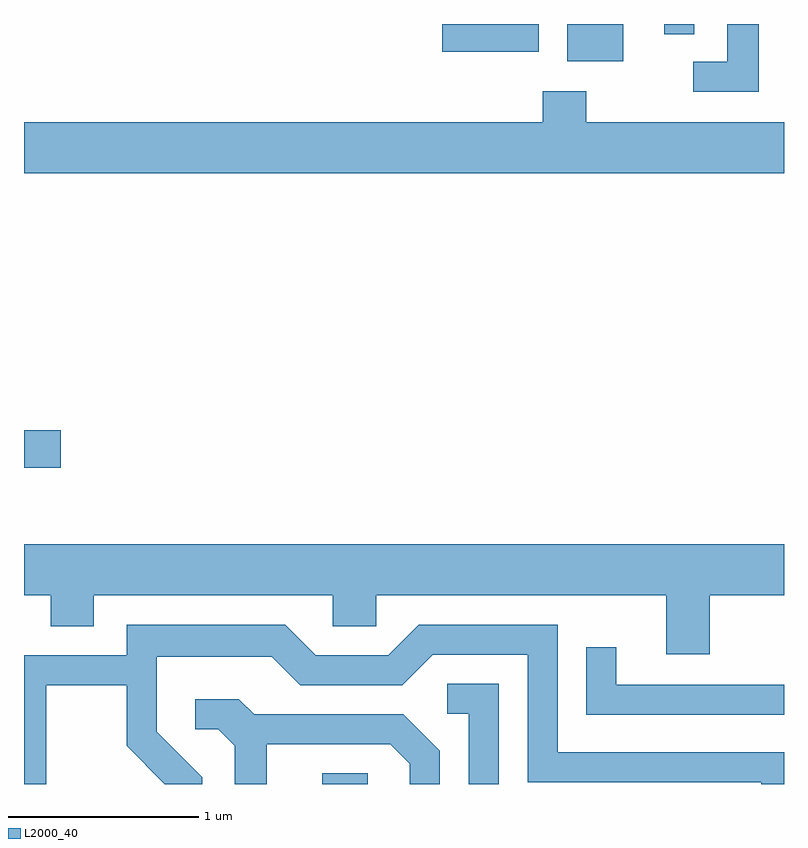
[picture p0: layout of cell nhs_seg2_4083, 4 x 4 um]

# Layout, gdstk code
import gdstk
lib = gdstk.Library(unit=1e-6, precision=1e-09)
def R(c, l, rs):  # rectangles x0, y0, x1, y1
    for r in rs: c.add(gdstk.rectangle(r[:2], r[2:], *l))
def P(c, l, *ps):  # polygons
    for p in ps: c.add(gdstk.Polygon(p, *l))
L2000_40 = (2000, 40)

nhs_seg2_4083 = lib.new_cell('nhs_seg2_4083')
R(nhs_seg2_4083, L2000_40, [(307.181,1011.802,307.419,1011.859), (305.611,1013.466,305.804,1013.664), (308.471,1015.606,308.764,1015.802), (307.813,1015.656,308.319,1015.802), (308.981,1015.748,309.139,1015.802)])
P(nhs_seg2_4083, L2000_40, [(309.479,1015.802),(309.311,1015.802),(309.311,1015.604),(309.133,1015.604),(309.133,1015.446),(309.479,1015.446)],
  [(309.611,1015.284),(308.569,1015.284),(308.569,1015.449),(308.341,1015.449),(308.341,1015.284),(305.611,1015.284),(305.611,1015.016),(309.611,1015.016)],
  [(309.219,1012.796),(309.611,1012.796),(309.611,1013.064),(305.611,1013.064),(305.611,1012.796),(305.751,1012.796),(305.751,1012.631),(305.979,1012.631),(305.979,1012.796),(307.236,1012.796),(307.236,1012.631),(307.464,1012.631),(307.464,1012.796),(308.991,1012.796),(308.991,1012.486),(309.219,1012.486)],
  [(305.729,1012.321),(306.151,1012.321),(306.151,1012.004),(306.353,1011.802),(306.549,1011.802),(306.549,1011.837),(306.309,1012.077),(306.309,1012.471),(306.914,1012.471),(307.064,1012.321),(307.602,1012.321),(307.762,1012.481),(308.261,1012.481),(308.261,1011.811),(309.491,1011.811),(309.491,1011.802),(309.611,1011.802),(309.611,1011.969),(308.419,1011.969),(308.419,1012.639),(307.689,1012.639),(307.529,1012.479),(307.147,1012.479),(306.987,1012.639),(306.151,1012.639),(306.151,1012.479),(305.611,1012.479),(305.611,1011.802),(305.729,1011.802)],
  [(309.611,1012.324),(308.729,1012.324),(308.729,1012.523),(308.571,1012.523),(308.571,1012.166),(309.611,1012.166)],
  [(308.109,1012.329),(307.838,1012.329),(307.838,1012.171),(307.951,1012.171),(307.951,1011.802),(308.109,1011.802)],
  [(306.889,1012.011),(307.539,1012.011),(307.641,1011.909),(307.641,1011.802),(307.799,1011.802),(307.799,1011.977),(307.607,1012.169),(306.822,1012.169),(306.742,1012.249),(306.513,1012.249),(306.513,1012.091),(306.634,1012.091),(306.721,1012.004),(306.721,1011.802),(306.889,1011.802)])

lib.write_gds('nhs_seg2_4083.gds')
